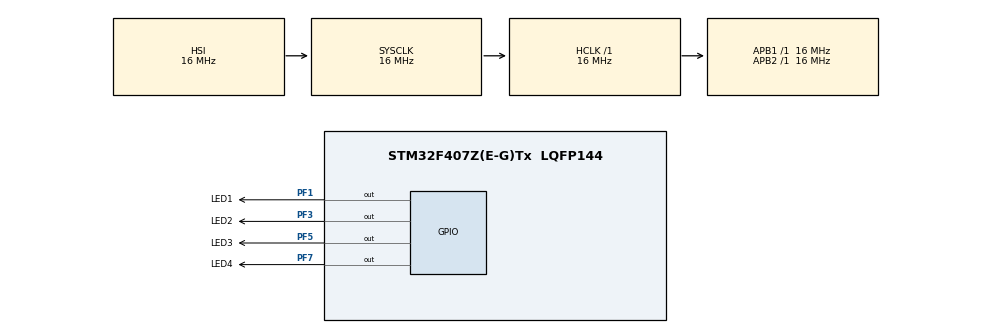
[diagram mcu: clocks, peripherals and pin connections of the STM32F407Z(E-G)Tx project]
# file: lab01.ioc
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Mcu.Family=STM32F4
Mcu.Name=STM32F407Z(E-G)Tx
Mcu.Package=LQFP144
NVIC.PriorityGroup=NVIC_PRIORITYGROUP_4
PF1.GPIO_Label=LED1
PF1.Signal=GPIO_Output
PF3.GPIO_Label=LED2
PF3.Signal=GPIO_Output
PF5.GPIO_Label=LED3
PF5.Signal=GPIO_Output
PF7.GPIO_Label=LED4
PF7.Signal=GPIO_Output
ProjectManager.HeapSize=0x200
ProjectManager.StackSize=0x400
ProjectManager.TargetToolchain=STM32CubeIDE
RCC.AHBFreq_Value=16000000
RCC.APB1Freq_Value=16000000
RCC.APB2Freq_Value=16000000
RCC.CortexFreq_Value=16000000
RCC.HSE_VALUE=25000000
RCC.HSI_VALUE=16000000
RCC.LSE_VALUE=32768
RCC.SYSCLKFreq_VALUE=16000000
RCC.VCOOutputFreq_Value=192000000
board=custom

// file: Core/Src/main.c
/* USER CODE BEGIN Header */
/**
  ******************************************************************************
  * @file           : main.c
  * @brief          : Main program body
  ******************************************************************************
  * @attention
  *
  * <h2><center>&copy; Copyright (c) 2022 STMicroelectronics.
  * All rights reserved.</center></h2>
  *
  * This software component is licensed by ST under BSD 3-Clause license,
  * the "License"; You may not use this file except in compliance with the
  * License. You may obtain a copy of the License at:
  *                        opensource.org/licenses/BSD-3-Clause
  *
  ******************************************************************************
  */
/* USER CODE END Header */
#include "main.h"

/* USER CODE BEGIN PTD */
typedef struct {
	GPIO_TypeDef* port;
	uint16_t pin;
}LED_GPIO_t;
/* USER CODE END PTD */

/* USER CODE BEGIN PV */
enum LED {
	LED1,
	LED2,
	LED3,
	LED4,
	LED_COUNT
} LED_t;

LED_GPIO_t leds[] = {
  [LED1]	= {LED1_GPIO_Port, LED1_Pin},
  [LED2]	= {LED2_GPIO_Port, LED2_Pin},
  [LED3]	= {LED3_GPIO_Port, LED3_Pin},
  [LED4]	= {LED4_GPIO_Port, LED4_Pin},
};
/* USER CODE END PV */

void SystemClock_Config(void);
static void MX_GPIO_Init(void);

/* USER CODE BEGIN 0 */

/**
 * \brief         The function implements running lights at different speeds
 * \param[in]     period that determines the blinking speed of the LEDs
 * \return        none
 */
void running_light(uint32_t period)
{
  static uint32_t new_time = 0;
  static uint8_t idx = 0;
  static uint8_t prev_idx = LED_COUNT - 1;

  if (HAL_GetTick() - new_time > period) {
    HAL_GPIO_WritePin(leds[idx].port, leds[idx].pin, GPIO_PIN_SET);
    HAL_GPIO_WritePin(leds[prev_idx].port, leds[prev_idx].pin, GPIO_PIN_RESET);
    prev_idx = idx;
    idx = (idx + 1) % LED_COUNT;
    new_time = HAL_GetTick();
  }
}
/* USER CODE END 0 */

int main(void)
{

  /* MCU Configuration--------------------------------------------------------*/

  /* Reset of all peripherals, Initializes the Flash interface and the Systick. */
  HAL_Init();

  /* Configure the system clock */
  SystemClock_Config();

  /* Initialize all configured peripherals */
  MX_GPIO_Init();

  /* Infinite loop */
  /* USER CODE BEGIN WHILE */
  while (1)
  {
	  running_light(500);
    /* USER CODE END WHILE */

  }
}

void SystemClock_Config(void)
{
  RCC_OscInitTypeDef RCC_OscInitStruct = {0};
  RCC_ClkInitTypeDef RCC_ClkInitStruct = {0};

  /** Configure the main internal regulator output voltage
  */
  __HAL_RCC_PWR_CLK_ENABLE();
  __HAL_PWR_VOLTAGESCALING_CONFIG(PWR_REGULATOR_VOLTAGE_SCALE1);
  /** Initializes the RCC Oscillators according to the specified parameters
  * in the RCC_OscInitTypeDef structure.
  */
  RCC_OscInitStruct.OscillatorType = RCC_OSCILLATORTYPE_HSI;
  RCC_OscInitStruct.HSIState = RCC_HSI_ON;
  RCC_OscInitStruct.HSICalibrationValue = RCC_HSICALIBRATION_DEFAULT;
  RCC_OscInitStruct.PLL.PLLState = RCC_PLL_NONE;
  if (HAL_RCC_OscConfig(&RCC_OscInitStruct) != HAL_OK)
  {
    Error_Handler();
  }
  /** Initializes the CPU, AHB and APB buses clocks
  */
  RCC_ClkInitStruct.ClockType = RCC_CLOCKTYPE_HCLK|RCC_CLOCKTYPE_SYSCLK
                              |RCC_CLOCKTYPE_PCLK1|RCC_CLOCKTYPE_PCLK2;
  RCC_ClkInitStruct.SYSCLKSource = RCC_SYSCLKSOURCE_HSI;
  RCC_ClkInitStruct.AHBCLKDivider = RCC_SYSCLK_DIV1;
  RCC_ClkInitStruct.APB1CLKDivider = RCC_HCLK_DIV1;
  RCC_ClkInitStruct.APB2CLKDivider = RCC_HCLK_DIV1;

  if (HAL_RCC_ClockConfig(&RCC_ClkInitStruct, FLASH_LATENCY_0) != HAL_OK)
  {
    Error_Handler();
  }
}

static void MX_GPIO_Init(void)
{
  GPIO_InitTypeDef GPIO_InitStruct = {0};

  /* GPIO Ports Clock Enable */
  __HAL_RCC_GPIOF_CLK_ENABLE();

  /*Configure GPIO pin Output Level */
  HAL_GPIO_WritePin(GPIOF, LED1_Pin|LED2_Pin|LED3_Pin|LED4_Pin, GPIO_PIN_RESET);

  /*Configure GPIO pins : LED1_Pin LED2_Pin LED3_Pin LED4_Pin */
  GPIO_InitStruct.Pin = LED1_Pin|LED2_Pin|LED3_Pin|LED4_Pin;
  GPIO_InitStruct.Mode = GPIO_MODE_OUTPUT_PP;
  GPIO_InitStruct.Pull = GPIO_NOPULL;
  GPIO_InitStruct.Speed = GPIO_SPEED_FREQ_LOW;
  HAL_GPIO_Init(GPIOF, &GPIO_InitStruct);

}

void Error_Handler(void)
{
  __disable_irq();
  while (1)
  {
  }
}

/************************ (C) COPYRIGHT STMicroelectronics *****END OF FILE****/
